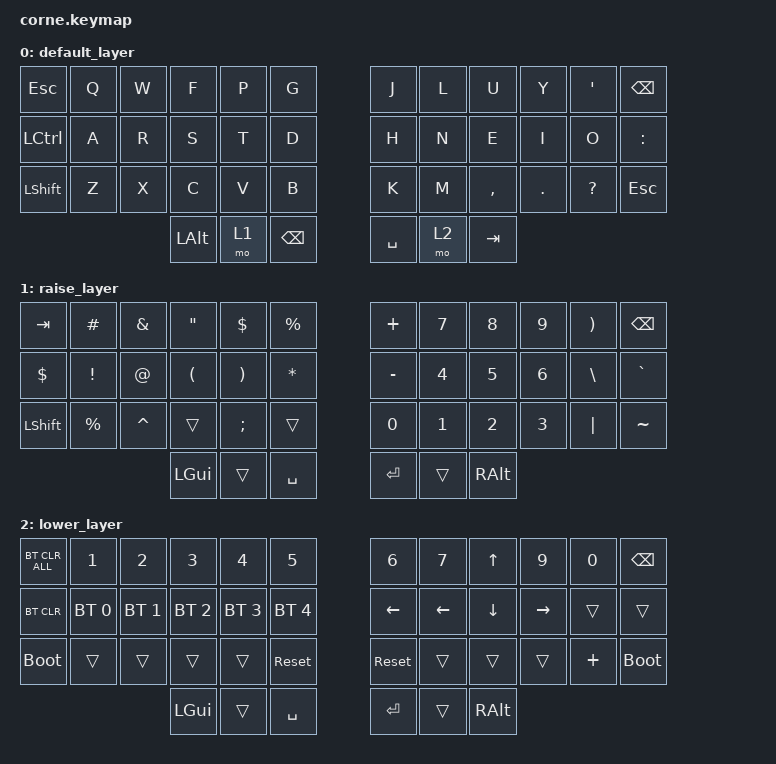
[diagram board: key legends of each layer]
/*
 * Copyright (c) 2020 The ZMK Contributors
 *
 * SPDX-License-Identifier: MIT
 */

#include <behaviors.dtsi>
#include <dt-bindings/zmk/bt.h>
#include <dt-bindings/zmk/keys.h>

/ {
    keymap {
        compatible = "zmk,keymap";

        default_layer {
            // -----------------------------------------------------------------------------------------
            // |  TAB |  Q  |  W  |  E  |  R  |  T  |   |  Y  |  U   |  I  |  O  |  P  | BSPC |
            // | CTRL |  A  |  S  |  D  |  F  |  G  |   |  H  |  J   |  K  |  L  |  ;  |  '   |
            // | SHFT |  Z  |  X  |  C  |  V  |  B  |   |  N  |  M   |  ,  |  .  |  /  | ESC  |
            //                    | GUI | LWR | SPC |   | ENT | RSE  | ALT |

            bindings = <
&kp ESCAPE  &kp Q  &kp W  &kp F         &kp P  &kp G            &kp J      &kp L  &kp U      &kp Y    &kp SQT       &kp BSPC
&kp LCTRL   &kp A  &kp R  &kp S         &kp T  &kp D            &kp H      &kp N  &kp E      &kp I    &kp O         &kp COLON
&kp LSHFT   &kp Z  &kp X  &kp C         &kp V  &kp B            &kp K      &kp M  &kp COMMA  &kp DOT  &kp QUESTION  &kp ESC
                          &kp LEFT_ALT  &mo 1  &kp BACKSPACE    &kp SPACE  &mo 2  &kp TAB
            >;
        };

        raise_layer {
            // -----------------------------------------------------------------------------------------
            // |  TAB |  !  |  @  |  #  |  $  |  %  |   |  ^  |  &  |  *  |  (  |  )  | BSPC |
            // | CTRL |     |     |     |     |     |   |  -  |  =  |  [  |  ]  |  \  |  `   |
            // | SHFT |     |     |     |     |     |   |  _  |  +  |  {  |  }  | "|" |  ~   |
            //                    | GUI |     | SPC |   | ENT |     | ALT |

            bindings = <
&kp TAB     &kp HASH         &kp AMPERSAND  &kp DOUBLE_QUOTES     &kp DLLR               &kp PRCNT       &kp PLUS   &kp N7        &kp N8        &kp N9        &kp RPAR  &kp BSPC
&kp DOLLAR  &kp EXCLAMATION  &kp AT_SIGN    &kp LEFT_PARENTHESIS  &kp RIGHT_PARENTHESIS  &kp ASTERISK    &kp MINUS  &kp NUMBER_4  &kp N5        &kp NUMBER_6  &kp BSLH  &kp GRAVE
&kp LSHFT   &kp PERCENT      &kp CARET      &trans                &kp SEMICOLON          &trans          &kp N0     &kp NUMBER_1  &kp NUMBER_2  &kp NUMBER_3  &kp PIPE  &kp TILDE
                                            &kp LGUI              &trans                 &kp SPACE       &kp RET    &trans        &kp RALT
            >;
        };

        lower_layer {
            // -----------------------------------------------------------------------------------------
            // |  TAB |  1  |  2  |  3  |  4  |  5  |   |  6  |  7  |  8  |  9  |  0  | BSPC |
            // | BTCLR| BT1 | BT2 | BT3 | BT4 | BT5 |   | LFT | DWN |  UP | RGT |     |      |
            // | SHFT |     |     |     |     |     |   |     |     |     |     |     |      |
            //                    | GUI |     | SPC |   | ENT |     | ALT |

            bindings = <
&bt BT_CLR_ALL  &kp N1        &kp N2        &kp N3        &kp N4        &kp N5          &kp N6      &kp N7    &kp UP_ARROW  &kp N9     &kp N0    &kp BSPC
&bt BT_CLR      &bt BT_SEL 0  &bt BT_SEL 1  &bt BT_SEL 2  &bt BT_SEL 3  &bt BT_SEL 4    &kp LEFT    &kp LEFT  &kp DOWN      &kp RIGHT  &trans    &trans
&bootloader     &trans        &trans        &trans        &trans        &sys_reset      &sys_reset  &trans    &trans        &trans     &kp PLUS  &bootloader
                                            &kp LGUI      &trans        &kp SPACE       &kp RET     &trans    &kp RALT
            >;
        };
    };
};
